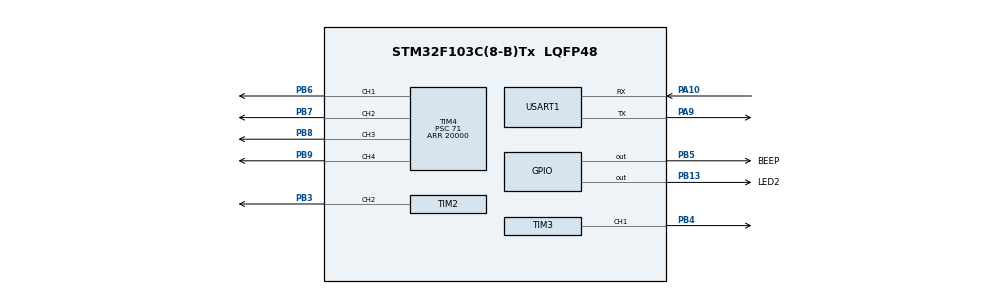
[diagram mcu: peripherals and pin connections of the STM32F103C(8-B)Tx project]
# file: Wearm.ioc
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Mcu.Family=STM32F1
Mcu.Name=STM32F103C(8-B)Tx
Mcu.Package=LQFP48
NVIC.PriorityGroup=NVIC_PRIORITYGROUP_4
NVIC.USART1_IRQn=true\:0\:0\:false\:false\:true\:true\:true\:true
PA10.Mode=Asynchronous
PA10.Signal=USART1_RX
PA9.Mode=Asynchronous
PA9.Signal=USART1_TX
PB13.GPIO_Label=LED2
PB13.Signal=GPIO_Output
PB3.Signal=S_TIM2_CH2
PB4.Signal=S_TIM3_CH1
PB5.GPIO_Label=BEEP
PB5.Signal=GPIO_Output
PB6.Signal=S_TIM4_CH1
PB7.Signal=S_TIM4_CH2
PB8.Signal=S_TIM4_CH3
PB9.Signal=S_TIM4_CH4
PD0-OSC_IN.Mode=HSE-External-Oscillator
PD0-OSC_IN.Signal=RCC_OSC_IN
PD1-OSC_OUT.Mode=HSE-External-Oscillator
PD1-OSC_OUT.Signal=RCC_OSC_OUT
ProjectManager.HeapSize=0x200
ProjectManager.StackSize=0x400
ProjectManager.TargetToolchain=MDK-ARM V5.32
RCC.AHBFreq_Value=72000000
RCC.APB1CLKDivider=RCC_HCLK_DIV2
RCC.APB1Freq_Value=36000000
RCC.APB1TimFreq_Value=72000000
RCC.APB2Freq_Value=72000000
RCC.APB2TimFreq_Value=72000000
RCC.HCLKFreq_Value=72000000
RCC.PLLMUL=RCC_PLL_MUL9
RCC.PLLSourceVirtual=RCC_PLLSOURCE_HSE
RCC.SYSCLKFreq_VALUE=72000000
RCC.SYSCLKSource=RCC_SYSCLKSOURCE_PLLCLK
RCC.USBFreq_Value=72000000
SH.S_TIM2_CH2.0=TIM2_CH2,PWM Generation2 CH2
SH.S_TIM3_CH1.0=TIM3_CH1,PWM Generation1 CH1
SH.S_TIM4_CH1.0=TIM4_CH1,PWM Generation1 CH1
SH.S_TIM4_CH2.0=TIM4_CH2,PWM Generation2 CH2
SH.S_TIM4_CH3.0=TIM4_CH3,PWM Generation3 CH3
SH.S_TIM4_CH4.0=TIM4_CH4,PWM Generation4 CH4
TIM2.Channel-PWM\ Generation2\ CH2=TIM_CHANNEL_2
TIM2.OC2Preload_PWM=DISABLE
TIM2.OCFastMode_PWM-PWM\ Generation2\ CH2=TIM_OCFAST_ENABLE
TIM2.Period=20000
TIM2.Prescaler=71
TIM2.Pulse-PWM\ Generation2\ CH2=1500
TIM3.Channel-PWM\ Generation1\ CH1=TIM_CHANNEL_1
TIM3.OC1Preload_PWM=DISABLE
TIM3.OCFastMode_PWM-PWM\ Generation1\ CH1=TIM_OCFAST_ENABLE
TIM3.Period=20000
TIM3.Prescaler=71
TIM3.Pulse-PWM\ Generation1\ CH1=1500
TIM4.Channel-PWM\ Generation1\ CH1=TIM_CHANNEL_1
TIM4.Channel-PWM\ Generation2\ CH2=TIM_CHANNEL_2
TIM4.Channel-PWM\ Generation3\ CH3=TIM_CHANNEL_3
TIM4.Channel-PWM\ Generation4\ CH4=TIM_CHANNEL_4
TIM4.OC1Preload_PWM=DISABLE
TIM4.OC2Preload_PWM=DISABLE
TIM4.OC3Preload_PWM=DISABLE
TIM4.OC4Preload_PWM=DISABLE
TIM4.OCFastMode_PWM-PWM\ Generation1\ CH1=TIM_OCFAST_ENABLE
TIM4.OCFastMode_PWM-PWM\ Generation2\ CH2=TIM_OCFAST_ENABLE
TIM4.OCFastMode_PWM-PWM\ Generation3\ CH3=TIM_OCFAST_ENABLE
TIM4.OCFastMode_PWM-PWM\ Generation4\ CH4=TIM_OCFAST_ENABLE
TIM4.Period=20000
TIM4.Prescaler=71
TIM4.Pulse-PWM\ Generation1\ CH1=1500
TIM4.Pulse-PWM\ Generation2\ CH2=1500
TIM4.Pulse-PWM\ Generation3\ CH3=1500
TIM4.Pulse-PWM\ Generation4\ CH4=1500
USART1.VirtualMode=VM_ASYNC
VP_SYS_VS_ND.Mode=No_Debug
VP_TIM2_VS_ClockSourceINT.Mode=Internal
VP_TIM3_VS_ClockSourceINT.Mode=Internal
VP_TIM4_VS_ClockSourceINT.Mode=Internal
board=custom

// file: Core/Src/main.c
/* USER CODE BEGIN Header */
/**
  ******************************************************************************
  * @file           : main.c
  * @brief          : Main program body
  ******************************************************************************
  * @attention
  *
  * Copyright (c) 2025 STMicroelectronics.
  * All rights reserved.
  *
  * This software is licensed under terms that can be found in the LICENSE file
  * in the root directory of this software component.
  * If no LICENSE file comes with this software, it is provided AS-IS.
  *
  ******************************************************************************
  */
/* USER CODE END Header */
#include "main.h"
#include "tim.h"
#include "usart.h"
#include "gpio.h"
#include "servo.h"
#include "automation.h"

/* USER CODE BEGIN Includes */
#include <stdio.h>
#include <string.h>
#include <stdlib.h>
/* USER CODE END Includes */

/* USER CODE BEGIN PD */
#define RX_BUFFER_SIZE 128 // 定义接收缓冲区大小
/* USER CODE END PD */

/* USER CODE BEGIN PV */
// --- 新增：用于中断接收的全局变量 ---
char rx_buffer[RX_BUFFER_SIZE];                     // 原始中断接收缓冲区
volatile uint16_t rx_buffer_index = 0;              // 缓冲区写入索引
volatile uint8_t g_new_command_received = 0;        // 新指令接收完成标志
char line_buffer[RX_BUFFER_SIZE];                   // 存储一行完整指令供主循环处理
/* USER CODE END PV */

void SystemClock_Config(void);
/* USER CODE BEGIN PFP */
void process_command(char* cmd); // 指令处理函数
void clear_rx_buffer(void);      // 清空接收缓冲区函数
/* USER CODE END PFP */

/* USER CODE BEGIN 0 */
/**
  * @brief 清空软件接收缓冲区
  */
void clear_rx_buffer(void) {
    rx_buffer_index = 0;
    // (可选) 如果需要，可以加入代码清空硬件FIFO，但通常清空软件缓冲区即可
}

/**
  * @brief USART1中断服务程序
  * @note  这是实现即时响应的关键
  */
void USART1_IRQHandler(void)
{
    // 检查是否是接收非空中断
    if(LL_USART_IsActiveFlag_RXNE(USART1) && LL_USART_IsEnabledIT_RXNE(USART1))
    {
        char received_char = LL_USART_ReceiveData8(USART1); // 读取接收到的字符

        // 判断是否是行尾字符
        if (received_char == '\n' || received_char == '\r')
        {
            if (rx_buffer_index > 0) // 确保不是空行
            {
                rx_buffer[rx_buffer_index] = '\0'; // 添加字符串结束符

                // --- 关键：立即处理 stop 指令 ---
                if (strcmp((const char*)rx_buffer, "stop") == 0) {
                    g_movement_should_stop = 1; // 设置全局停止标志
                    clear_rx_buffer();          // 清空缓冲区，丢弃后续指令
                    puts("STOP CMD RECV");      // 向上位机发送确认信息
                } else {
                    // 对于其他指令，复制到处理缓冲区，并设置标志位通知主循环
                    strcpy(line_buffer, (const char*)rx_buffer);
                    g_new_command_received = 1;
                    rx_buffer_index = 0; // 重置缓冲区索引，准备接收下一条指令
                }
            }
        }
        else // 如果不是行尾字符
        {
            // 将字符存入缓冲区
            if (rx_buffer_index < RX_BUFFER_SIZE - 1)
            {
                rx_buffer[rx_buffer_index++] = received_char;
            }
        }
    }
}

/**
  * @brief 指令处理函数
  * @param cmd 指向指令字符串的指针
  */
void process_command(char* cmd)
{
    if(strlen(cmd) == 0) return;

    if (strcmp(cmd, "beep") == 0)
    {
        printf("BEEP CMD\n");
        LL_GPIO_SetOutputPin(BEEP_GPIO_Port, BEEP_Pin);
        LL_mDelay(200);
        LL_GPIO_ResetOutputPin(BEEP_GPIO_Port, BEEP_Pin);
        puts("OK");
    }
    else if (strncmp(cmd, "run ", 4) == 0)
    {
        int task_id;
        sscanf(cmd + 4, "%d", &task_id);
        if(task_id >= 0 && task_id < TASK_COUNT)
        {
            execute_automation_task((AutomationTask)task_id);
        }
        else
        {
            printf("Invalid task ID.\n");
        }
    }
    else
    {
        // 手动控制指令
        printf("MANUAL CMD: %s\n", cmd);
        servo_cmd_angle(cmd); // 这个函数会调用可中断的 servo_run()
    }
}
/* USER CODE END 0 */

int main(void)
{

  /* MCU Configuration--------------------------------------------------------*/

  /* Reset of all peripherals, Initializes the Flash interface and the Systick. */
  LL_APB2_GRP1_EnableClock(LL_APB2_GRP1_PERIPH_AFIO);
  LL_APB1_GRP1_EnableClock(LL_APB1_GRP1_PERIPH_PWR);

  /* System interrupt init*/
  NVIC_SetPriorityGrouping(NVIC_PRIORITYGROUP_4);

  /* SysTick_IRQn interrupt configuration */
  NVIC_SetPriority(SysTick_IRQn, NVIC_EncodePriority(NVIC_GetPriorityGrouping(),15, 0));

  /** DISABLE: JTAG-DP Disabled and SW-DP Disabled
  */
  LL_GPIO_AF_DisableRemap_SWJ();

  /* Configure the system clock */
  SystemClock_Config();

  /* Initialize all configured peripherals */
  MX_GPIO_Init();
  MX_USART1_UART_Init();
  MX_TIM3_Init();
  MX_TIM2_Init();
  MX_TIM4_Init();
  /* USER CODE BEGIN 2 */

    // --- 新增：使能串口接收中断 ---
    LL_USART_EnableIT_RXNE(USART1);
    NVIC_SetPriority(USART1_IRQn, 0); // 设置中断优先级
    NVIC_EnableIRQ(USART1_IRQn);      // 在NVIC中使能中断

    servos_init_all();
    LL_mDelay(500);
    servo_run();
    LL_mDelay(500);

    // 更新使用说明
    puts("Servo control system ready.");
    puts("MANUAL: id:angle:delay,id:angle:delay...");
    puts("STOP: stop"); // <-- 新增
    puts("AUTO: run <task_id>");
    puts("BEEP: beep");

  /* USER CODE END 2 */

  /* Infinite loop */
  /* USER CODE BEGIN WHILE */
    // --- 修改后的主循环 ---
    while (1)
    {
        // 检查是否有新指令需要处理
        if (g_new_command_received)
        {
            g_new_command_received = 0; // 清除标志位
            process_command(line_buffer); // 处理指令
        }

        // 主循环现在是非阻塞的，可以在这里添加其他后台任务
        // LL_mDelay(10); // 可以加入短暂延时降低CPU占用率
    }
    /* USER CODE END WHILE */

}

void SystemClock_Config(void)
{
  LL_FLASH_SetLatency(LL_FLASH_LATENCY_2);
  while(LL_FLASH_GetLatency()!= LL_FLASH_LATENCY_2)
  {
  }
  LL_RCC_HSE_Enable();

   /* Wait till HSE is ready */
  while(LL_RCC_HSE_IsReady() != 1)
  {

  }
  LL_RCC_PLL_ConfigDomain_SYS(LL_RCC_PLLSOURCE_HSE_DIV_1, LL_RCC_PLL_MUL_9);
  LL_RCC_PLL_Enable();

   /* Wait till PLL is ready */
  while(LL_RCC_PLL_IsReady() != 1)
  {

  }
  LL_RCC_SetAHBPrescaler(LL_RCC_SYSCLK_DIV_1);
  LL_RCC_SetAPB1Prescaler(LL_RCC_APB1_DIV_2);
  LL_RCC_SetAPB2Prescaler(LL_RCC_APB2_DIV_1);
  LL_RCC_SetSysClkSource(LL_RCC_SYS_CLKSOURCE_PLL);

   /* Wait till System clock is ready */
  while(LL_RCC_GetSysClkSource() != LL_RCC_SYS_CLKSOURCE_STATUS_PLL)
  {

  }
  LL_Init1msTick(72000000);
  LL_SetSystemCoreClock(72000000);
}

void Error_Handler(void)
{
  __disable_irq();
  while (1)
  {
  }
}
